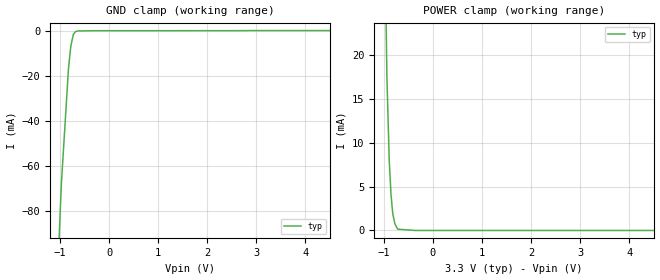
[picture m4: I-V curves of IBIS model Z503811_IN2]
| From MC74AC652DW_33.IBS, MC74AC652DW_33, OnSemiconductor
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| (C) COPYRIGHT 1993-2000
| MENTOR GRAPHICS CORPORATION
| ICX STANDARD LIBRARY, ICX PROJECT MODELING,
| ICX CUSTOM MODELING, ICX VENDOR MODEL
| ALL RIGHTS RESERVED.
| THE FOLLOWING ARE TRADEMARKS OR SERVICE MARKS OF
| MENTOR GRAPHICS CORPORATION:ICX (R), ICX STANDARD
| LIBRARY(R), ICX PROJECT MODELING(R), ICX CUSTOM
| MODELING(R), qualityIBIS(TM), MODELVIEWER(TM),
| AND MODELEDITOR(TM)
| ALL COPIES OF SOFTWARE, INCLUDING BUT NOT LIMITED TO
| ANY MODIFICATIONS, ENHANCEMENTS OR DERIVATIVE WORKS,
| MUST CONTAIN ALL MENTOR GRAPHICS CORPORATION'S
| NOTICES AND LEGENDS, INCLUDING THOSE EMBEDDED IN
| SOFTWARE AND THOSE AFFIXED TO SOFTWARE MEDIUM
| AND CONTAINER, AS RECEIVED FROM MENTOR GRAPHICS
| CORPORATION.
| Model Application Version 1.89 2/18/99.
[Model] Z503811_IN2
Model_type Input
Vinl = 990.0mV
Vinh = 2.310V
C_comp 4.000pF NA NA
| variable typ   min   max
[Voltage Range] 3.300V NA NA
[GND Clamp Reference] 0.000V NA NA
[POWER Clamp Reference] 3.300V NA NA
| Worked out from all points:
|   GND clamp passes 1 mA (typ) near -0.71 V on its own axis
|   POWER clamp passes 1 mA (typ) near -0.78 V on its own axis
[GND Clamp]
-3.3V     -1.646A    NA         NA
-1.077V   -122.7mA   NA         NA
-974.7mV  -68.27mA   NA         NA
-830.1mV  -17.12mA   NA         NA
-782.4mV  -6.909mA   NA         NA
-730.4mV  -1.622mA   NA         NA
-687.5mV  -375.8uA   NA         NA
-647.7mV  -50.6uA    NA         NA
-323.9mV  69.93uA    NA         NA
6.6V      137.5uA    NA         NA
[POWER Clamp]
-3.3V     1.798A     NA         NA
-1.134V   115.3mA    NA         NA
-1.037V   56.42mA    NA         NA
-938mV    17.53mA    NA         NA
-890mV    7.992mA    NA         NA
-855mV    4.163mA    NA         NA
-818mV    1.913mA    NA         NA
-776mV    777.3uA    NA         NA
-717mV    145.8uA    NA         NA
-358.5mV  0A         NA         NA
6.6V      0A         NA         NA
